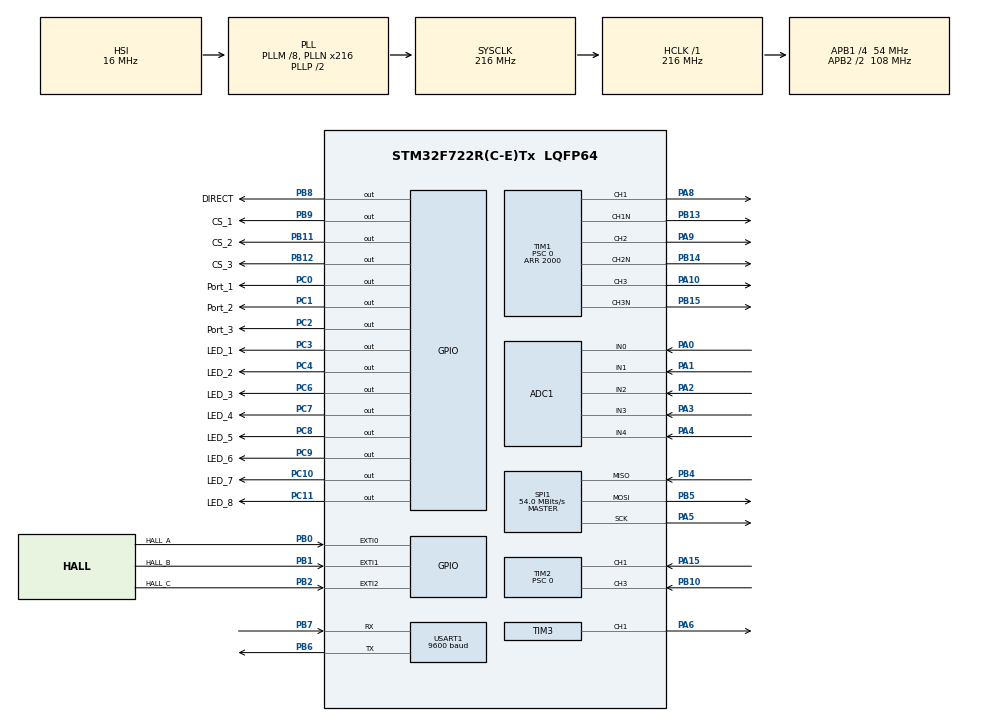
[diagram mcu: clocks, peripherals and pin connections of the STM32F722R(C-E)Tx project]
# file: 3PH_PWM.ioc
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ADC1.Channel-0\#ChannelRegularConversion=ADC_CHANNEL_0
ADC1.NbrOfConversionFlag=1
ADC1.Rank-0\#ChannelRegularConversion=1
ADC1.SamplingTime-0\#ChannelRegularConversion=ADC_SAMPLETIME_3CYCLES
ADC1.master=1
CORTEX_M7.default_mode_Activation=1
Dma.Request0=USART1_RX
Dma.Request1=USART1_TX
Dma.USART1_RX.0.Direction=DMA_PERIPH_TO_MEMORY
Dma.USART1_RX.0.FIFOMode=DMA_FIFOMODE_DISABLE
Dma.USART1_RX.0.Instance=DMA2_Stream2
Dma.USART1_RX.0.MemDataAlignment=DMA_MDATAALIGN_BYTE
Dma.USART1_RX.0.MemInc=DMA_MINC_ENABLE
Dma.USART1_RX.0.Mode=DMA_NORMAL
Dma.USART1_RX.0.PeriphDataAlignment=DMA_PDATAALIGN_BYTE
Dma.USART1_RX.0.PeriphInc=DMA_PINC_DISABLE
Dma.USART1_RX.0.Priority=DMA_PRIORITY_HIGH
Dma.USART1_TX.1.Direction=DMA_MEMORY_TO_PERIPH
Dma.USART1_TX.1.FIFOMode=DMA_FIFOMODE_DISABLE
Dma.USART1_TX.1.Instance=DMA2_Stream7
Dma.USART1_TX.1.MemDataAlignment=DMA_MDATAALIGN_BYTE
Dma.USART1_TX.1.MemInc=DMA_MINC_ENABLE
Dma.USART1_TX.1.Mode=DMA_NORMAL
Dma.USART1_TX.1.PeriphDataAlignment=DMA_PDATAALIGN_BYTE
Dma.USART1_TX.1.PeriphInc=DMA_PINC_DISABLE
Dma.USART1_TX.1.Priority=DMA_PRIORITY_LOW
FREERTOS.Tasks01=defaultTask,24,256,StartDefaultTask,Default,NULL,Dynamic,NULL,NULL;ModBusData,24,256,StartTask02,Default,NULL,Dynamic,NULL,NULL
FREERTOS.configUSE_NEWLIB_REENTRANT=1
Mcu.Family=STM32F7
Mcu.Name=STM32F722R(C-E)Tx
Mcu.Package=LQFP64
NVIC.DMA2_Stream2_IRQn=true\:5\:0\:false\:false\:true\:true\:false\:true\:true
NVIC.DMA2_Stream7_IRQn=true\:5\:0\:false\:false\:true\:true\:false\:true\:true
NVIC.EXTI0_IRQn=true\:5\:0\:true\:false\:true\:true\:true\:true\:true
NVIC.EXTI1_IRQn=true\:5\:0\:false\:false\:true\:true\:true\:true\:true
NVIC.EXTI2_IRQn=true\:5\:0\:false\:false\:true\:true\:true\:true\:true
NVIC.PriorityGroup=NVIC_PRIORITYGROUP_4
NVIC.RCC_IRQn=true\:5\:0\:false\:false\:true\:true\:true\:false\:true
NVIC.TIM1_UP_TIM10_IRQn=true\:5\:0\:false\:false\:true\:true\:true\:true\:true
NVIC.TIM2_IRQn=true\:5\:0\:false\:false\:true\:true\:true\:true\:true
NVIC.TIM8_TRG_COM_TIM14_IRQn=true\:15\:0\:false\:false\:true\:false\:false\:true\:true
NVIC.TimeBase=TIM8_TRG_COM_TIM14_IRQn
NVIC.TimeBaseIP=TIM14
NVIC.USART1_IRQn=true\:7\:0\:true\:false\:true\:true\:true\:true\:true
PA0-WKUP.Signal=ADCx_IN0
PA1.Signal=ADCx_IN1
PA10.Signal=S_TIM1_CH3
PA13.Mode=Trace_Asynchronous_SW
PA13.Signal=SYS_JTMS-SWDIO
PA14.Mode=Trace_Asynchronous_SW
PA14.Signal=SYS_JTCK-SWCLK
PA15.Signal=S_TIM2_CH1_ETR
PA2.Signal=ADCx_IN2
PA3.Signal=ADCx_IN3
PA4.Signal=ADCx_IN4
PA5.Mode=Full_Duplex_Master
PA5.Signal=SPI1_SCK
PA6.Signal=S_TIM3_CH1
PA8.Signal=S_TIM1_CH1
PA9.Signal=S_TIM1_CH2
PB0.GPIO_Label=HALL_A
PB0.GPIO_ModeDefaultEXTI=GPIO_MODE_IT_RISING_FALLING
PB0.Signal=GPXTI0
PB1.GPIO_Label=HALL_B
PB1.GPIO_ModeDefaultEXTI=GPIO_MODE_IT_RISING_FALLING
PB1.Signal=GPXTI1
PB10.Signal=S_TIM2_CH3
PB11.GPIO_Label=CS_2
PB11.Signal=GPIO_Output
PB12.GPIO_Label=CS_3
PB12.Signal=GPIO_Output
PB13.Mode=PWM Generation1 CH1 CH1N
PB13.Signal=TIM1_CH1N
PB14.Mode=PWM Generation2 CH2 CH2N
PB14.Signal=TIM1_CH2N
PB15.Mode=PWM Generation3 CH3 CH3N
PB15.Signal=TIM1_CH3N
PB2.GPIO_Label=HALL_C
PB2.GPIO_ModeDefaultEXTI=GPIO_MODE_IT_RISING_FALLING
PB2.Signal=GPXTI2
PB3.Mode=Trace_Asynchronous_SW
PB3.Signal=SYS_JTDO-SWO
PB4.Mode=Full_Duplex_Master
PB4.Signal=SPI1_MISO
PB5.Mode=Full_Duplex_Master
PB5.Signal=SPI1_MOSI
PB6.Mode=Asynchronous
PB6.Signal=USART1_TX
PB7.Mode=Asynchronous
PB7.Signal=USART1_RX
PB8.GPIO_Label=DIRECT
PB8.Signal=GPIO_Output
PB9.GPIO_Label=CS_1
PB9.Signal=GPIO_Output
PC0.GPIO_Label=Port_1
PC0.Signal=GPIO_Output
PC1.GPIO_Label=Port_2
PC1.Signal=GPIO_Output
PC10.GPIO_Label=LED_7
PC10.Signal=GPIO_Output
PC11.GPIO_Label=LED_8
PC11.Signal=GPIO_Output
PC2.GPIO_Label=Port_3
PC2.Signal=GPIO_Output
PC3.GPIO_Label=LED_1
PC3.Signal=GPIO_Output
PC4.GPIO_Label=LED_2
PC4.Signal=GPIO_Output
PC6.GPIO_Label=LED_3
PC6.Signal=GPIO_Output
PC7.GPIO_Label=LED_4
PC7.Signal=GPIO_Output
PC8.GPIO_Label=LED_5
PC8.Signal=GPIO_Output
PC9.GPIO_Label=LED_6
PC9.Signal=GPIO_Output
ProjectManager.HeapSize=0x200
ProjectManager.StackSize=0x400
ProjectManager.TargetToolchain=STM32CubeIDE
RCC.AHBFreq_Value=216000000
RCC.APB1CLKDivider=RCC_HCLK_DIV4
RCC.APB1Freq_Value=54000000
RCC.APB1TimFreq_Value=108000000
RCC.APB2CLKDivider=RCC_HCLK_DIV2
RCC.APB2Freq_Value=108000000
RCC.APB2TimFreq_Value=216000000
RCC.CortexFreq_Value=216000000
RCC.HCLKFreq_Value=216000000
RCC.HSE_VALUE=16000000
RCC.HSI_VALUE=16000000
RCC.LSE_VALUE=32768
RCC.PLLM=8
RCC.PLLN=216
RCC.SYSCLKFreq_VALUE=216000000
RCC.SYSCLKSource=RCC_SYSCLKSOURCE_PLLCLK
RCC.USBFreq_Value=216000000
RCC.VCOOutputFreq_Value=432000000
SH.ADCx_IN0.0=ADC1_IN0,IN0
SH.ADCx_IN1.0=ADC1_IN1,IN1
SH.ADCx_IN2.0=ADC1_IN2,IN2
SH.ADCx_IN3.0=ADC1_IN3,IN3
SH.ADCx_IN4.0=ADC1_IN4,IN4
SH.S_TIM1_CH1.0=TIM1_CH1,PWM Generation1 CH1 CH1N
SH.S_TIM1_CH2.0=TIM1_CH2,PWM Generation2 CH2 CH2N
SH.S_TIM1_CH3.0=TIM1_CH3,PWM Generation3 CH3 CH3N
SH.S_TIM2_CH1_ETR.0=TIM2_CH1,Input_Capture1_from_TI1
SH.S_TIM2_CH3.0=TIM2_CH3,Input_Capture3_from_TI3
SH.S_TIM3_CH1.0=TIM3_CH1,PWM Generation1 CH1
SPI1.BaudRatePrescaler=SPI_BAUDRATEPRESCALER_2
SPI1.CalculateBaudRate=54.0 MBits/s
SPI1.Direction=SPI_DIRECTION_2LINES
SPI1.Mode=SPI_MODE_MASTER
SPI1.VirtualType=VM_MASTER
TIM1.AutoReloadPreload=TIM_AUTORELOAD_PRELOAD_DISABLE
TIM1.Channel-PWM\ Generation1\ CH1\ CH1N=TIM_CHANNEL_1
TIM1.Channel-PWM\ Generation2\ CH2\ CH2N=TIM_CHANNEL_2
TIM1.Channel-PWM\ Generation3\ CH3\ CH3N=TIM_CHANNEL_3
TIM1.CounterMode=TIM_COUNTERMODE_CENTERALIGNED1
TIM1.DeadTime=100
TIM1.OCFastMode_PWM-PWM\ Generation1\ CH1\ CH1N=TIM_OCFAST_DISABLE
TIM1.OCFastMode_PWM-PWM\ Generation2\ CH2\ CH2N=TIM_OCFAST_DISABLE
TIM1.OCFastMode_PWM-PWM\ Generation3\ CH3\ CH3N=TIM_OCFAST_DISABLE
TIM1.OCIdleState_1=TIM_OCIDLESTATE_RESET
TIM1.OCIdleState_2=TIM_OCIDLESTATE_RESET
TIM1.OCIdleState_3=TIM_OCIDLESTATE_RESET
TIM1.OCNIdleState_1=TIM_OCNIDLESTATE_RESET
TIM1.OCNIdleState_2=TIM_OCNIDLESTATE_RESET
TIM1.OCNIdleState_3=TIM_OCNIDLESTATE_RESET
TIM1.OCNPolarity_1=TIM_OCNPOLARITY_HIGH
TIM1.OCNPolarity_2=TIM_OCNPOLARITY_HIGH
TIM1.OCNPolarity_3=TIM_OCNPOLARITY_HIGH
TIM1.OCPolarity_1=TIM_OCPOLARITY_HIGH
TIM1.OCPolarity_2=TIM_OCPOLARITY_HIGH
TIM1.OCPolarity_3=TIM_OCPOLARITY_HIGH
TIM1.Period=2000
TIM1.Prescaler=0
TIM1.Pulse-PWM\ Generation1\ CH1\ CH1N=1
TIM1.Pulse-PWM\ Generation2\ CH2\ CH2N=1
TIM1.Pulse-PWM\ Generation3\ CH3\ CH3N=1
TIM2.Channel-Input_Capture1_from_TI1=TIM_CHANNEL_1
TIM2.Channel-Input_Capture2_from_TI1_63=TIM_CHANNEL_2
TIM2.Channel-Input_Capture3_from_TI3=TIM_CHANNEL_3
TIM2.Channel-Input_Capture4_from_TI3_63=TIM_CHANNEL_4
TIM2.ICFilter_CH1=13
TIM2.ICFilter_CH3=13
TIM2.ICPolarity_CH1=TIM_INPUTCHANNELPOLARITY_FALLING
TIM2.ICPolarity_CH2=TIM_INPUTCHANNELPOLARITY_RISING
TIM2.Prescaler=0
TIM3.Channel-PWM\ Generation1\ CH1=TIM_CHANNEL_1
USART1.BaudRate=9600
USART1.VirtualMode-Asynchronous=VM_ASYNC
VP_FREERTOS_VS_CMSIS_V2.Mode=CMSIS_V2
VP_SYS_VS_tim14.Mode=TIM14
VP_TIM1_VS_ClockSourceINT.Mode=Internal
VP_TIM2_VS_ClockSourceINT.Mode=Internal
VP_TIM2_VS_indirect_ch1.Mode=Input_Capture2_from_TI1_63
VP_TIM2_VS_indirect_ch3.Mode=Input_Capture4_from_TI3_63
VP_TIM4_VS_ClockSourceINT.Mode=Internal
board=custom

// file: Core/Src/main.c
/* USER CODE BEGIN Header */
/**
  ******************************************************************************
  * @file           : main.c
  * @brief          : Main program body
  ******************************************************************************
  * @attention
  *
  * Copyright (c) 2025 STMicroelectronics.
  * All rights reserved.
  *
  * This software is licensed under terms that can be found in the LICENSE file
  * in the root directory of this software component.
  * If no LICENSE file comes with this software, it is provided AS-IS.
  *
  ******************************************************************************
  */
/* USER CODE END Header */
#include "main.h"
#include "cmsis_os.h"

/* USER CODE BEGIN Includes */
#include "stdbool.h"
#include "modbusDevice.h"
#include "modbusSlave.h"
#include "Registers_handler.h"
#include "DDS3PHASE.h"
#include "BLDC.h"
#include <math.h>
/* USER CODE END Includes */

/* USER CODE BEGIN PTD */

#define RX_BUFFER_SIZE 64
#define USART_TIMEOUT 900 // Таймаут в миллисекундах
#define ROTATE_TIME 2000
#define UPDATE_TIME 1000 //время прироста ШИМ на один шаг
#define ADC_NUM_CHANNELS 4  // Количество каналов
#define MODE_DRIVE 0
#define MODE_GEN 1

#define LUT_SIZE 2048

// Константы для избежания плавающей точки
#define CPU_FREQ_HZ 216000000
#define CALC_CONSTANT (60 * CPU_FREQ_HZ / NUM_MAGNETS)

#define ANGLE_OF_ATTACK 15
uint16_t adc_values[ADC_NUM_CHANNELS];
uint32_t lastActivityTime = 0;
 bool usartBusy = false;
 uint8_t rxFrame[128]={0,};
 uint8_t txFrame[128]={0,};
 uint8_t SLAVE_ID=2;
 uint16_t data_reg[32]={0,};
 uint16_t rcv_data_reg[32]={0,};
 uint16_t timer1Freq=0;
 uint16_t timer3Freq=0;
 uint16_t auto_mode_timer=0;
 uint32_t pwm=0;
 uint16_t pwm_boost=0;

 uint8_t dicreteInputs[200] = {0};
 uint8_t coils[200] = {0};

 uint32_t timerClockFreq = 216000000;
 volatile uint32_t period=0;
 uint16_t f=0;
 volatile uint32_t rpm=0;
 uint32_t moove=0;

 bool pwm_status=0;
 bool dataStates[16];
 bool coil_1=0;
 bool coil_2=0;
 bool coil_3=0;
 bool coil_4=0;

 bool BLDC_STATE[3] = {0,0,0};
 bool auto_mode=0;
 bool bldc_mode=0;
 bool pwr_on=0;

 /*Переменные для Hall+FOC */
volatile uint32_t hall_time_ticks = 0;
volatile uint32_t hall_period_ticks = 1000;
volatile float electrical_angle = 0.0f;
volatile uint8_t hall_sector = 0;
bool sinusoidal_active = false;

/* USER CODE END PTD */

ADC_HandleTypeDef hadc1;

SPI_HandleTypeDef hspi1;

TIM_HandleTypeDef htim1;
TIM_HandleTypeDef htim2;
TIM_HandleTypeDef htim3;
TIM_HandleTypeDef htim4;

UART_HandleTypeDef huart1;
DMA_HandleTypeDef hdma_usart1_rx;
DMA_HandleTypeDef hdma_usart1_tx;

/* Definitions for defaultTask */
osThreadId_t defaultTaskHandle;
const osThreadAttr_t defaultTask_attributes = {
  .name = "defaultTask",
  .stack_size = 256 * 4,
  .priority = (osPriority_t) osPriorityNormal,
};
/* Definitions for ModBusData */
osThreadId_t ModBusDataHandle;
const osThreadAttr_t ModBusData_attributes = {
  .name = "ModBusData",
  .stack_size = 256 * 4,
  .priority = (osPriority_t) osPriorityNormal,
};

void SystemClock_Config(void);
static void MPU_Config(void);
static void MX_GPIO_Init(void);
static void MX_DMA_Init(void);
static void MX_TIM1_Init(void);
static void MX_TIM2_Init(void);
static void MX_USART1_UART_Init(void);
static void MX_ADC1_Init(void);
static void MX_SPI1_Init(void);
static void MX_TIM3_Init(void);
static void MX_TIM4_Init(void);
void StartDefaultTask(void *argument);
void StartTask02(void *argument);

/* USER CODE BEGIN PFP */
void Check_USART1_Timeout(void);
void Reset_USART1(void);
void BLDC_MotorCommutation(uint8_t halls, uint16_t pwm);
uint16_t calculateTimerFrequency(TIM_TypeDef *TIMx, uint32_t timerClockFreq);
void BLDC_FlywheelCommutation(uint8_t halls ,uint16_t pwm , bool bldc_mode);
/* USER CODE END PFP */

int main(void)
{

  /* MPU Configuration--------------------------------------------------------*/
  MPU_Config();

  /* MCU Configuration--------------------------------------------------------*/

  /* Reset of all peripherals, Initializes the Flash interface and the Systick. */
  HAL_Init();

  /* Configure the system clock */
  SystemClock_Config();

  /* Initialize all configured peripherals */
  MX_GPIO_Init();
  MX_DMA_Init();
  MX_TIM1_Init();
  MX_TIM2_Init();
  MX_USART1_UART_Init();
  MX_ADC1_Init();
  MX_SPI1_Init();
  MX_TIM3_Init();
  MX_TIM4_Init();
  /* USER CODE BEGIN 2 */
  TX_2;
  LED_1_ON ;
  LED_2_ON ;
  LED_3_ON ;
  LED_4_ON ;
  LED_5_ON ;
  LED_6_ON ;
  LED_7_ON ;
  LED_8_ON ;
  HAL_Delay(500);
  DRIVE_1_ON;
  DRIVE_2_ON;
  DRIVE_3_ON;
  HAL_UARTEx_ReceiveToIdle_DMA(&huart1, rxFrame, RX_BUFFER_SIZE);
    __HAL_DMA_DISABLE_IT(&hdma_usart1_rx, DMA_IT_HT);
    HAL_TIM_Base_Start_IT(&htim1);
    HAL_TIM_Base_Start_IT(&htim2);
    HAL_TIM_IC_Start_IT(&htim2, TIM_CHANNEL_1);
    HAL_TIM_IC_Start_IT(&htim2, TIM_CHANNEL_2);
    HAL_TIM_IC_Start_IT(&htim2, TIM_CHANNEL_3);
    HAL_TIM_IC_Start_IT(&htim2, TIM_CHANNEL_4);

    LED_1_OFF ;
    LED_2_OFF ;
    LED_3_OFF ;
    LED_4_OFF ;
    LED_5_OFF ;
    LED_6_OFF ;
    LED_7_OFF ;
    LED_8_OFF ;
  //  DRIVE_1_OFF;
  //  DRIVE_2_OFF;
  //  DRIVE_3_OFF;
    RX_2;
    DDS_Init();

    HAL_TIM_PWM_Start(&htim1, TIM_CHANNEL_1);
    HAL_TIM_PWM_Start(&htim1, TIM_CHANNEL_2);
    HAL_TIM_PWM_Start(&htim1, TIM_CHANNEL_3);

    HAL_TIMEx_PWMN_Start(&htim1, TIM_CHANNEL_1);
    HAL_TIMEx_PWMN_Start(&htim1, TIM_CHANNEL_2);
    HAL_TIMEx_PWMN_Start(&htim1, TIM_CHANNEL_3);

  /* USER CODE END 2 */

  /* Init scheduler */
  osKernelInitialize();

  /* Create the thread(s) */
  /* creation of defaultTask */
  defaultTaskHandle = osThreadNew(StartDefaultTask, NULL, &defaultTask_attributes);

  /* creation of ModBusData */
  ModBusDataHandle = osThreadNew(StartTask02, NULL, &ModBusData_attributes);

  /* Start scheduler */
  osKernelStart();

  /* We should never get here as control is now taken by the scheduler */

  /* Infinite loop */
  while (1)
  {

  }
}

void SystemClock_Config(void)
{
  RCC_OscInitTypeDef RCC_OscInitStruct = {0};
  RCC_ClkInitTypeDef RCC_ClkInitStruct = {0};

  /** Configure the main internal regulator output voltage
  */
  __HAL_RCC_PWR_CLK_ENABLE();
  __HAL_PWR_VOLTAGESCALING_CONFIG(PWR_REGULATOR_VOLTAGE_SCALE1);

  /** Initializes the RCC Oscillators according to the specified parameters
  * in the RCC_OscInitTypeDef structure.
  */
  RCC_OscInitStruct.OscillatorType = RCC_OSCILLATORTYPE_HSI;
  RCC_OscInitStruct.HSIState = RCC_HSI_ON;
  RCC_OscInitStruct.HSICalibrationValue = RCC_HSICALIBRATION_DEFAULT;
  RCC_OscInitStruct.PLL.PLLState = RCC_PLL_ON;
  RCC_OscInitStruct.PLL.PLLSource = RCC_PLLSOURCE_HSI;
  RCC_OscInitStruct.PLL.PLLM = 8;
  RCC_OscInitStruct.PLL.PLLN = 216;
  RCC_OscInitStruct.PLL.PLLP = RCC_PLLP_DIV2;
  RCC_OscInitStruct.PLL.PLLQ = 2;
  if (HAL_RCC_OscConfig(&RCC_OscInitStruct) != HAL_OK)
  {
    Error_Handler();
  }

  /** Activate the Over-Drive mode
  */
  if (HAL_PWREx_EnableOverDrive() != HAL_OK)
  {
    Error_Handler();
  }

  /** Initializes the CPU, AHB and APB buses clocks
  */
  RCC_ClkInitStruct.ClockType = RCC_CLOCKTYPE_HCLK|RCC_CLOCKTYPE_SYSCLK
                              |RCC_CLOCKTYPE_PCLK1|RCC_CLOCKTYPE_PCLK2;
  RCC_ClkInitStruct.SYSCLKSource = RCC_SYSCLKSOURCE_PLLCLK;
  RCC_ClkInitStruct.AHBCLKDivider = RCC_SYSCLK_DIV1;
  RCC_ClkInitStruct.APB1CLKDivider = RCC_HCLK_DIV4;
  RCC_ClkInitStruct.APB2CLKDivider = RCC_HCLK_DIV2;

  if (HAL_RCC_ClockConfig(&RCC_ClkInitStruct, FLASH_LATENCY_7) != HAL_OK)
  {
    Error_Handler();
  }
}

static void MX_ADC1_Init(void)
{

  ADC_ChannelConfTypeDef sConfig = {0};

  /** Configure the global features of the ADC (Clock, Resolution, Data Alignment and number of conversion)
  */
  hadc1.Instance = ADC1;
  hadc1.Init.ClockPrescaler = ADC_CLOCK_SYNC_PCLK_DIV4;
  hadc1.Init.Resolution = ADC_RESOLUTION_12B;
  hadc1.Init.ScanConvMode = ADC_SCAN_DISABLE;
  hadc1.Init.ContinuousConvMode = DISABLE;
  hadc1.Init.DiscontinuousConvMode = DISABLE;
  hadc1.Init.ExternalTrigConvEdge = ADC_EXTERNALTRIGCONVEDGE_NONE;
  hadc1.Init.ExternalTrigConv = ADC_SOFTWARE_START;
  hadc1.Init.DataAlign = ADC_DATAALIGN_RIGHT;
  hadc1.Init.NbrOfConversion = 1;
  hadc1.Init.DMAContinuousRequests = DISABLE;
  hadc1.Init.EOCSelection = ADC_EOC_SINGLE_CONV;
  if (HAL_ADC_Init(&hadc1) != HAL_OK)
  {
    Error_Handler();
  }

  /** Configure for the selected ADC regular channel its corresponding rank in the sequencer and its sample time.
  */
  sConfig.Channel = ADC_CHANNEL_0;
  sConfig.Rank = ADC_REGULAR_RANK_1;
  sConfig.SamplingTime = ADC_SAMPLETIME_3CYCLES;
  if (HAL_ADC_ConfigChannel(&hadc1, &sConfig) != HAL_OK)
  {
    Error_Handler();
  }

}

static void MX_SPI1_Init(void)
{

  /* SPI1 parameter configuration*/
  hspi1.Instance = SPI1;
  hspi1.Init.Mode = SPI_MODE_MASTER;
  hspi1.Init.Direction = SPI_DIRECTION_2LINES;
  hspi1.Init.DataSize = SPI_DATASIZE_4BIT;
  hspi1.Init.CLKPolarity = SPI_POLARITY_LOW;
  hspi1.Init.CLKPhase = SPI_PHASE_1EDGE;
  hspi1.Init.NSS = SPI_NSS_SOFT;
  hspi1.Init.BaudRatePrescaler = SPI_BAUDRATEPRESCALER_2;
  hspi1.Init.FirstBit = SPI_FIRSTBIT_MSB;
  hspi1.Init.TIMode = SPI_TIMODE_DISABLE;
  hspi1.Init.CRCCalculation = SPI_CRCCALCULATION_DISABLE;
  hspi1.Init.CRCPolynomial = 7;
  hspi1.Init.CRCLength = SPI_CRC_LENGTH_DATASIZE;
  hspi1.Init.NSSPMode = SPI_NSS_PULSE_ENABLE;
  if (HAL_SPI_Init(&hspi1) != HAL_OK)
  {
    Error_Handler();
  }

}

static void MX_TIM1_Init(void)
{

  TIM_ClockConfigTypeDef sClockSourceConfig = {0};
  TIM_MasterConfigTypeDef sMasterConfig = {0};
  TIM_OC_InitTypeDef sConfigOC = {0};
  TIM_BreakDeadTimeConfigTypeDef sBreakDeadTimeConfig = {0};

  htim1.Instance = TIM1;
  htim1.Init.Prescaler = 0;
  htim1.Init.CounterMode = TIM_COUNTERMODE_CENTERALIGNED1;
  htim1.Init.Period = 2000;
  htim1.Init.ClockDivision = TIM_CLOCKDIVISION_DIV1;
  htim1.Init.RepetitionCounter = 0;
  htim1.Init.AutoReloadPreload = TIM_AUTORELOAD_PRELOAD_DISABLE;
  if (HAL_TIM_Base_Init(&htim1) != HAL_OK)
  {
    Error_Handler();
  }
  sClockSourceConfig.ClockSource = TIM_CLOCKSOURCE_INTERNAL;
  if (HAL_TIM_ConfigClockSource(&htim1, &sClockSourceConfig) != HAL_OK)
  {
    Error_Handler();
  }
  if (HAL_TIM_PWM_Init(&htim1) != HAL_OK)
  {
    Error_Handler();
  }
  sMasterConfig.MasterOutputTrigger = TIM_TRGO_RESET;
  sMasterConfig.MasterOutputTrigger2 = TIM_TRGO2_RESET;
  sMasterConfig.MasterSlaveMode = TIM_MASTERSLAVEMODE_DISABLE;
  if (HAL_TIMEx_MasterConfigSynchronization(&htim1, &sMasterConfig) != HAL_OK)
  {
    Error_Handler();
  }
  sConfigOC.OCMode = TIM_OCMODE_PWM1;
  sConfigOC.Pulse = 1;
  sConfigOC.OCPolarity = TIM_OCPOLARITY_HIGH;
  sConfigOC.OCNPolarity = TIM_OCNPOLARITY_HIGH;
  sConfigOC.OCFastMode = TIM_OCFAST_DISABLE;
  sConfigOC.OCIdleState = TIM_OCIDLESTATE_RESET;
  sConfigOC.OCNIdleState = TIM_OCNIDLESTATE_RESET;
  if (HAL_TIM_PWM_ConfigChannel(&htim1, &sConfigOC, TIM_CHANNEL_1) != HAL_OK)
  {
    Error_Handler();
  }
  if (HAL_TIM_PWM_ConfigChannel(&htim1, &sConfigOC, TIM_CHANNEL_2) != HAL_OK)
  {
    Error_Handler();
  }
  if (HAL_TIM_PWM_ConfigChannel(&htim1, &sConfigOC, TIM_CHANNEL_3) != HAL_OK)
  {
    Error_Handler();
  }
  sBreakDeadTimeConfig.OffStateRunMode = TIM_OSSR_DISABLE;
  sBreakDeadTimeConfig.OffStateIDLEMode = TIM_OSSI_DISABLE;
  sBreakDeadTimeConfig.LockLevel = TIM_LOCKLEVEL_OFF;
  sBreakDeadTimeConfig.DeadTime = 100;
  sBreakDeadTimeConfig.BreakState = TIM_BREAK_DISABLE;
  sBreakDeadTimeConfig.BreakPolarity = TIM_BREAKPOLARITY_HIGH;
  sBreakDeadTimeConfig.BreakFilter = 0;
  sBreakDeadTimeConfig.Break2State = TIM_BREAK2_DISABLE;
  sBreakDeadTimeConfig.Break2Polarity = TIM_BREAK2POLARITY_HIGH;
  sBreakDeadTimeConfig.Break2Filter = 0;
  sBreakDeadTimeConfig.AutomaticOutput = TIM_AUTOMATICOUTPUT_DISABLE;
  if (HAL_TIMEx_ConfigBreakDeadTime(&htim1, &sBreakDeadTimeConfig) != HAL_OK)
  {
    Error_Handler();
  }
  HAL_TIM_MspPostInit(&htim1);

}

static void MX_TIM2_Init(void)
{

  TIM_ClockConfigTypeDef sClockSourceConfig = {0};
  TIM_MasterConfigTypeDef sMasterConfig = {0};
  TIM_IC_InitTypeDef sConfigIC = {0};

  htim2.Instance = TIM2;
  htim2.Init.Prescaler = 0;
  htim2.Init.CounterMode = TIM_COUNTERMODE_UP;
  htim2.Init.Period = 4294967295;
  htim2.Init.ClockDivision = TIM_CLOCKDIVISION_DIV1;
  htim2.Init.AutoReloadPreload = TIM_AUTORELOAD_PRELOAD_DISABLE;
  if (HAL_TIM_Base_Init(&htim2) != HAL_OK)
  {
    Error_Handler();
  }
  sClockSourceConfig.ClockSource = TIM_CLOCKSOURCE_INTERNAL;
  if (HAL_TIM_ConfigClockSource(&htim2, &sClockSourceConfig) != HAL_OK)
  {
    Error_Handler();
  }
  if (HAL_TIM_IC_Init(&htim2) != HAL_OK)
  {
    Error_Handler();
  }
  sMasterConfig.MasterOutputTrigger = TIM_TRGO_RESET;
  sMasterConfig.MasterSlaveMode = TIM_MASTERSLAVEMODE_DISABLE;
  if (HAL_TIMEx_MasterConfigSynchronization(&htim2, &sMasterConfig) != HAL_OK)
  {
    Error_Handler();
  }
  sConfigIC.ICPolarity = TIM_INPUTCHANNELPOLARITY_FALLING;
  sConfigIC.ICSelection = TIM_ICSELECTION_DIRECTTI;
  sConfigIC.ICPrescaler = TIM_ICPSC_DIV1;
  sConfigIC.ICFilter = 13;
  if (HAL_TIM_IC_ConfigChannel(&htim2, &sConfigIC, TIM_CHANNEL_1) != HAL_OK)
  {
    Error_Handler();
  }
  sConfigIC.ICPolarity = TIM_INPUTCHANNELPOLARITY_RISING;
  sConfigIC.ICSelection = TIM_ICSELECTION_INDIRECTTI;
  sConfigIC.ICFilter = 0;
  if (HAL_TIM_IC_ConfigChannel(&htim2, &sConfigIC, TIM_CHANNEL_2) != HAL_OK)
  {
    Error_Handler();
  }
  sConfigIC.ICSelection = TIM_ICSELECTION_DIRECTTI;
  sConfigIC.ICFilter = 13;
  if (HAL_TIM_IC_ConfigChannel(&htim2, &sConfigIC, TIM_CHANNEL_3) != HAL_OK)
  {
    Error_Handler();
  }
  sConfigIC.ICSelection = TIM_ICSELECTION_INDIRECTTI;
  sConfigIC.ICFilter = 0;
  if (HAL_TIM_IC_ConfigChannel(&htim2, &sConfigIC, TIM_CHANNEL_4) != HAL_OK)
  {
    Error_Handler();
  }

}

static void MX_TIM3_Init(void)
{

  TIM_MasterConfigTypeDef sMasterConfig = {0};
  TIM_OC_InitTypeDef sConfigOC = {0};

  htim3.Instance = TIM3;
  htim3.Init.Prescaler = 0;
  htim3.Init.CounterMode = TIM_COUNTERMODE_UP;
  htim3.Init.Period = 65535;
  htim3.Init.ClockDivision = TIM_CLOCKDIVISION_DIV1;
  htim3.Init.AutoReloadPreload = TIM_AUTORELOAD_PRELOAD_DISABLE;
  if (HAL_TIM_PWM_Init(&htim3) != HAL_OK)
  {
    Error_Handler();
  }
  sMasterConfig.MasterOutputTrigger = TIM_TRGO_RESET;
  sMasterConfig.MasterSlaveMode = TIM_MASTERSLAVEMODE_DISABLE;
  if (HAL_TIMEx_MasterConfigSynchronization(&htim3, &sMasterConfig) != HAL_OK)
  {
    Error_Handler();
  }
  sConfigOC.OCMode = TIM_OCMODE_PWM1;
  sConfigOC.Pulse = 0;
  sConfigOC.OCPolarity = TIM_OCPOLARITY_HIGH;
  sConfigOC.OCFastMode = TIM_OCFAST_DISABLE;
  if (HAL_TIM_PWM_ConfigChannel(&htim3, &sConfigOC, TIM_CHANNEL_1) != HAL_OK)
  {
    Error_Handler();
  }
  HAL_TIM_MspPostInit(&htim3);

}

static void MX_TIM4_Init(void)
{

  TIM_ClockConfigTypeDef sClockSourceConfig = {0};
  TIM_MasterConfigTypeDef sMasterConfig = {0};

  htim4.Instance = TIM4;
  htim4.Init.Prescaler = 0;
  htim4.Init.CounterMode = TIM_COUNTERMODE_UP;
  htim4.Init.Period = 65535;
  htim4.Init.ClockDivision = TIM_CLOCKDIVISION_DIV1;
  htim4.Init.AutoReloadPreload = TIM_AUTORELOAD_PRELOAD_DISABLE;
  if (HAL_TIM_Base_Init(&htim4) != HAL_OK)
  {
    Error_Handler();
  }
  sClockSourceConfig.ClockSource = TIM_CLOCKSOURCE_INTERNAL;
  if (HAL_TIM_ConfigClockSource(&htim4, &sClockSourceConfig) != HAL_OK)
  {
    Error_Handler();
  }
  sMasterConfig.MasterOutputTrigger = TIM_TRGO_RESET;
  sMasterConfig.MasterSlaveMode = TIM_MASTERSLAVEMODE_DISABLE;
  if (HAL_TIMEx_MasterConfigSynchronization(&htim4, &sMasterConfig) != HAL_OK)
  {
    Error_Handler();
  }

}

static void MX_USART1_UART_Init(void)
{

  huart1.Instance = USART1;
  huart1.Init.BaudRate = 9600;
  huart1.Init.WordLength = UART_WORDLENGTH_8B;
  huart1.Init.StopBits = UART_STOPBITS_1;
  huart1.Init.Parity = UART_PARITY_NONE;
  huart1.Init.Mode = UART_MODE_TX_RX;
  huart1.Init.HwFlowCtl = UART_HWCONTROL_NONE;
  huart1.Init.OverSampling = UART_OVERSAMPLING_16;
  huart1.Init.OneBitSampling = UART_ONE_BIT_SAMPLE_DISABLE;
  huart1.AdvancedInit.AdvFeatureInit = UART_ADVFEATURE_NO_INIT;
  if (HAL_UART_Init(&huart1) != HAL_OK)
  {
    Error_Handler();
  }

}

static void MX_DMA_Init(void)
{

  /* DMA controller clock enable */
  __HAL_RCC_DMA2_CLK_ENABLE();

  /* DMA interrupt init */
  /* DMA2_Stream2_IRQn interrupt configuration */
  HAL_NVIC_SetPriority(DMA2_Stream2_IRQn, 5, 0);
  HAL_NVIC_EnableIRQ(DMA2_Stream2_IRQn);
  /* DMA2_Stream7_IRQn interrupt configuration */
  HAL_NVIC_SetPriority(DMA2_Stream7_IRQn, 5, 0);
  HAL_NVIC_EnableIRQ(DMA2_Stream7_IRQn);

}

static void MX_GPIO_Init(void)
{
  GPIO_InitTypeDef GPIO_InitStruct = {0};

  /* GPIO Ports Clock Enable */
  __HAL_RCC_GPIOC_CLK_ENABLE();
  __HAL_RCC_GPIOA_CLK_ENABLE();
  __HAL_RCC_GPIOB_CLK_ENABLE();

  /*Configure GPIO pin Output Level */
  HAL_GPIO_WritePin(GPIOC, Port_1_Pin|Port_2_Pin|Port_3_Pin|LED_1_Pin
                          |LED_2_Pin|LED_3_Pin|LED_4_Pin|LED_5_Pin
                          |LED_6_Pin|LED_7_Pin|LED_8_Pin, GPIO_PIN_RESET);

  /*Configure GPIO pin Output Level */
  HAL_GPIO_WritePin(GPIOB, CS_2_Pin|CS_3_Pin|DIRECT_Pin|CS_1_Pin, GPIO_PIN_RESET);

  /*Configure GPIO pins : Port_1_Pin Port_2_Pin Port_3_Pin LED_1_Pin
                           LED_2_Pin LED_3_Pin LED_4_Pin LED_5_Pin
                           LED_6_Pin LED_7_Pin LED_8_Pin */
  GPIO_InitStruct.Pin = Port_1_Pin|Port_2_Pin|Port_3_Pin|LED_1_Pin
                          |LED_2_Pin|LED_3_Pin|LED_4_Pin|LED_5_Pin
                          |LED_6_Pin|LED_7_Pin|LED_8_Pin;
  GPIO_InitStruct.Mode = GPIO_MODE_OUTPUT_PP;
  GPIO_InitStruct.Pull = GPIO_NOPULL;
  GPIO_InitStruct.Speed = GPIO_SPEED_FREQ_LOW;
  HAL_GPIO_Init(GPIOC, &GPIO_InitStruct);

  /*Configure GPIO pins : HALL_A_Pin HALL_B_Pin HALL_C_Pin */
  GPIO_InitStruct.Pin = HALL_A_Pin|HALL_B_Pin|HALL_C_Pin;
  GPIO_InitStruct.Mode = GPIO_MODE_IT_RISING_FALLING;
  GPIO_InitStruct.Pull = GPIO_NOPULL;
  HAL_GPIO_Init(GPIOB, &GPIO_InitStruct);

  /*Configure GPIO pins : CS_2_Pin CS_3_Pin DIRECT_Pin CS_1_Pin */
  GPIO_InitStruct.Pin = CS_2_Pin|CS_3_Pin|DIRECT_Pin|CS_1_Pin;
  GPIO_InitStruct.Mode = GPIO_MODE_OUTPUT_PP;
  GPIO_InitStruct.Pull = GPIO_NOPULL;
  GPIO_InitStruct.Speed = GPIO_SPEED_FREQ_LOW;
  HAL_GPIO_Init(GPIOB, &GPIO_InitStruct);

  /* EXTI interrupt init*/
  HAL_NVIC_SetPriority(EXTI0_IRQn, 5, 0);
  HAL_NVIC_EnableIRQ(EXTI0_IRQn);

  HAL_NVIC_SetPriority(EXTI1_IRQn, 5, 0);
  HAL_NVIC_EnableIRQ(EXTI1_IRQn);

  HAL_NVIC_SetPriority(EXTI2_IRQn, 5, 0);
  HAL_NVIC_EnableIRQ(EXTI2_IRQn);

}

/* USER CODE BEGIN 4 */

uint16_t calculateTimerFrequency(TIM_TypeDef *TIMx, uint32_t timerClockFreq) {
    uint32_t arr = TIMx->ARR;        // Значение ARR
    uint32_t psc = TIMx->PSC;        // Значение Prescaler
    uint32_t actualFreq = timerClockFreq / (psc + 1);
    return actualFreq / (arr + 1);   // Частота в герцах
}

void Reset_USART1(void) {
    // Включить индикатор (если требуется)
    LED_4_ON;

    // Остановить передачу и прием по DMA
    if (HAL_UART_DMAStop(&huart1) != HAL_OK) {
        // Обработка ошибки
    }

    // Прерывание активных DMA транзакций
    if (hdma_usart1_rx.Instance != NULL) {
        HAL_DMA_Abort(&hdma_usart1_rx);
    }
    if (hdma_usart1_tx.Instance != NULL) {
        HAL_DMA_Abort(&hdma_usart1_tx);
    }

    // Отключить все прерывания UART
    __HAL_UART_DISABLE_IT(&huart1, UART_IT_IDLE | UART_IT_TC | UART_IT_RXNE);

    // Сбросить флаги ошибок UART
    __HAL_UART_CLEAR_OREFLAG(&huart1);
    __HAL_UART_CLEAR_FEFLAG(&huart1);

    // Сбросить периферийный модуль USART1
    __HAL_RCC_USART1_FORCE_RESET();
    HAL_Delay(1); // Задержка для завершения сброса
    __HAL_RCC_USART1_RELEASE_RESET();

    // Деинициализация UART
    if (HAL_UART_DeInit(&huart1) != HAL_OK) {
        // Обработка ошибки
    }

    // Повторная инициализация UART
    MX_USART1_UART_Init();

    // Повторная настройка DMA
    MX_DMA_Init();

    // Настройка UART для приема данных с использованием DMA
    if (HAL_UARTEx_ReceiveToIdle_DMA(&huart1, rxFrame, RX_BUFFER_SIZE) != HAL_OK) {
        // Обработка ошибки
    }
    __HAL_DMA_DISABLE_IT(&hdma_usart1_rx, DMA_IT_HT);

    // Сброс параметров и таймеров
    lastActivityTime = HAL_GetTick();
    LED_4_OFF;

}

void HAL_UART_TxCpltCallback(UART_HandleTypeDef *huart)

{
	    RX_2;
	    lastActivityTime = HAL_GetTick();
	    HAL_UARTEx_ReceiveToIdle_DMA(&huart1, rxFrame,RX_BUFFER_SIZE);
	    __HAL_UART_ENABLE_IT(&huart1, UART_IT_IDLE);
	    __HAL_DMA_DISABLE_IT(&hdma_usart1_rx, DMA_IT_HT);
       LED_4_OFF;
}

void HAL_UARTEx_RxEventCallback(UART_HandleTypeDef *huart, uint16_t Size)
{
	if (huart->Instance == USART1)
	{

		lastActivityTime = HAL_GetTick();
	    __HAL_UART_DISABLE_IT(&huart1, UART_IT_IDLE);
	    HAL_DMA_Abort(&hdma_usart1_rx);
	    Registers_handler(rxFrame, data_reg, rcv_data_reg,Size);

	}
}

void Hall_Event(void)
{
    uint32_t now = TIM2->CNT;

    hall_period_ticks = now - hall_time_ticks;
    hall_time_ticks = now;

    hall_sector = HallToSector(
        SWITCH(BLDC_STATE)
    );
}

float GetElectricalAngle(void)
{
    uint32_t dt;
    uint32_t now;

    __disable_irq();

    now = TIM2->CNT;

    dt = now - hall_time_ticks;

    uint32_t period = hall_period_ticks;
    uint8_t sector = hall_sector;

    __enable_irq();

    if(period == 0)
        return sector * 60.0f;

    if(dt > period)
        dt = period;

    float frac = (float)dt / (float)period;

    return sector * 60.0f + frac * 60.0f;
}

void Check_USART1_Timeout(void)
 {
     if (HAL_GetTick() - lastActivityTime >= USART_TIMEOUT)
     {
         Reset_USART1();
         RX_2;
     }
 }

void BLDC_FlywheelCommutation(uint8_t halls ,uint16_t pwm , bool bldc_mode)
{
    if (bldc_mode == MODE_DRIVE)
    {
    	LED_5_OFF;
        BLDC_MotorCommutation(halls,pwm);
    }
    if (bldc_mode == MODE_GEN)
    {
    	LED_5_ON;
        BLDC_GeneratorCommutation(halls, pwm);
    }
}

void HAL_GPIO_EXTI_Callback(uint16_t GPIO_Pin)
{
	static bool was_sinusoidal = false;
    uint16_t current_pwm = (bldc_mode == MODE_DRIVE) ? pwm : pwm_boost;

    if(GPIO_Pin == HALL_A_Pin)
    {
        if (GPIO_PIN_SET == HAL_GPIO_ReadPin(HALL_A_GPIO_Port, HALL_A_Pin))
        {
            LED_1_ON;
            BLDC_STATE[0] = 0;
          // if(rpm<2000){BLDC_FlywheelCommutation(SWITCH(BLDC_STATE), current_pwm, bldc_mode);}
        }
        else
        {
            LED_1_OFF;
            BLDC_STATE[0] = 1;
           // if(rpm<2000){BLDC_FlywheelCommutation(SWITCH(BLDC_STATE), current_pwm, bldc_mode);}
        }
    }

    if(GPIO_Pin == HALL_B_Pin)
    {
        if (GPIO_PIN_SET == HAL_GPIO_ReadPin(HALL_B_GPIO_Port, HALL_B_Pin))
        {
            LED_2_ON;
            BLDC_STATE[1] = 0;
          //  if(rpm<2000){BLDC_FlywheelCommutation(SWITCH(BLDC_STATE), current_pwm, bldc_mode);}
        }
        else
        {
            LED_2_OFF;
            BLDC_STATE[1] = 1;
           // if(rpm<2000){BLDC_FlywheelCommutation(SWITCH(BLDC_STATE), current_pwm, bldc_mode);}
        }
    }

    if(GPIO_Pin == HALL_C_Pin)
    {
        if (GPIO_PIN_SET == HAL_GPIO_ReadPin(HALL_C_GPIO_Port, HALL_C_Pin))
        {
            LED_3_ON;
            BLDC_STATE[2] = 0;
            //if(rpm<2000){BLDC_FlywheelCommutation(SWITCH(BLDC_STATE), current_pwm, bldc_mode);}
        }
        else
        {
            LED_3_OFF;
            BLDC_STATE[2] = 1;
           // if(rpm<2000){BLDC_FlywheelCommutation(SWITCH(BLDC_STATE), current_pwm, bldc_mode);}
        }
    }
    Hall_Event();

}

void HAL_TIM_IC_CaptureCallback(TIM_HandleTypeDef *htim)
{
    if (htim->Instance == TIM2)
    {
        if(htim->Channel == HAL_TIM_ACTIVE_CHANNEL_1)
        {

		  period = 0;
		      TIM2->CNT = 0;
		      period = HAL_TIM_ReadCapturedValue(&htim2, TIM_CHANNEL_2);

		      // Правильные константы для 216 MHz и 8 магнитов:
		      rpm = 1620000000 / period/2;  // 216M * 60 / 8 = 1620M
		      f = 27000000 / period/2;      // 216M / 8 = 27M

		      // Корректируем граничные значения:
		      if((period > 1620000000) || (period <= 2160)) {  // period <= 2160 = ~100,000 RPM
		          rpm = 0;
		          f = 0;
		      }

        }

        if(htim->Channel == HAL_TIM_ACTIVE_CHANNEL_2)
        {
        	 moove = HAL_GetTick();
        }

        if(htim->Channel == HAL_TIM_ACTIVE_CHANNEL_3)
        {

        }

        if(htim->Channel == HAL_TIM_ACTIVE_CHANNEL_4)
        {

        }
    }

}

/* USER CODE END 4 */

void StartDefaultTask(void *argument)
{
  /* USER CODE BEGIN 5 */
  /* Infinite loop */
  for(;;)
  {
	  Check_USART1_Timeout();
	      osDelay(1000);
  }
  /* USER CODE END 5 */
}

void StartTask02(void *argument)
{
  /* USER CODE BEGIN StartTask02 */
  /* Infinite loop */

	 static uint8_t prev_bldc_mode = MODE_DRIVE;
  for(;;)
  {
	  // ===== 1. СНАЧАЛА читаем присланные данные =====
	  uint16_t new_arr = rcv_data_reg[3];
	  uint16_t new_pwm = rcv_data_reg[4];
	  uint16_t new_pwm_boost = rcv_data_reg[8];
	  uint16_t new_status = rcv_data_reg[7];
	  // ===== 2. Обновляем состояние из присланного статуса =====
	  uint8_t low_byte = (uint8_t)(new_status & 0xFF);
	  coil_1    = (low_byte >> 1) & 0x01;
	  coil_2    = (low_byte >> 2) & 0x01;
	  coil_3    = (low_byte >> 3) & 0x01;
	  coil_4    = (low_byte >> 4) & 0x01;
	  auto_mode = (low_byte >> 5) & 0x01;
	  pwr_on    = (low_byte >> 6) & 0x01;
	  bldc_mode = (low_byte >> 7) & 0x01;

      // ===== 4. Формируем ответные регистры (ИЗ ТЕКУЩЕГО СОСТОЯНИЯ!) =====
           uint32_t freqHz = calculateTimerFrequency(TIM1, timerClockFreq);

           data_reg[0] = freqHz;           // FREQ HI
           data_reg[1] = freqHz;           // FREQ LO
           data_reg[2] = rpm;              // RPM
           data_reg[3] = TIM1->ARR;        // TIMER_ARR
           data_reg[4] = pwm;              // PWM_CH1
           data_reg[5] = pwm;              // PWM_CH2
           data_reg[6] = pwm;              // PWM_CH3

           //формируем статус из текущих флагов
           uint16_t current_status = 0;
           current_status |= (coil_1 << 1);
           current_status |= (coil_2 << 2);
           current_status |= (coil_3 << 3);
           current_status |= (coil_4 << 4);
           current_status |= (auto_mode << 5);
           current_status |= (pwr_on << 6);
           current_status |= (bldc_mode << 7);

           data_reg[7] =current_status;   // STATUS
           data_reg[8] = pwm_boost;        // PWM_GEN

           osDelay(100);
  }
  /* USER CODE END StartTask02 */
}

 /* MPU Configuration */

void MPU_Config(void)
{
  MPU_Region_InitTypeDef MPU_InitStruct = {0};

  /* Disables the MPU */
  HAL_MPU_Disable();

  /** Initializes and configures the Region and the memory to be protected
  */
  MPU_InitStruct.Enable = MPU_REGION_ENABLE;
  MPU_InitStruct.Number = MPU_REGION_NUMBER0;
  MPU_InitStruct.BaseAddress = 0x0;
  MPU_InitStruct.Size = MPU_REGION_SIZE_4GB;
  MPU_InitStruct.SubRegionDisable = 0x87;
  MPU_InitStruct.TypeExtField = MPU_TEX_LEVEL0;
  MPU_InitStruct.AccessPermission = MPU_REGION_NO_ACCESS;
  MPU_InitStruct.DisableExec = MPU_INSTRUCTION_ACCESS_DISABLE;
  MPU_InitStruct.IsShareable = MPU_ACCESS_SHAREABLE;
  MPU_InitStruct.IsCacheable = MPU_ACCESS_NOT_CACHEABLE;
  MPU_InitStruct.IsBufferable = MPU_ACCESS_NOT_BUFFERABLE;

  HAL_MPU_ConfigRegion(&MPU_InitStruct);
  /* Enables the MPU */
  HAL_MPU_Enable(MPU_PRIVILEGED_DEFAULT);

}

void HAL_TIM_PeriodElapsedCallback(TIM_HandleTypeDef *htim)
{
  if (htim->Instance == TIM14)
  {
    HAL_IncTick();
  }
  /* USER CODE BEGIN Callback 1 */
  if(htim->Instance == TIM1)
     {
         DDS_Update();
         HAL_GPIO_TogglePin(GPIOC, GPIO_PIN_11);
     }
}

  /* USER CODE END Callback 1 */

void Error_Handler(void)
{
  __disable_irq();
  while (1)
  {
  }
}
